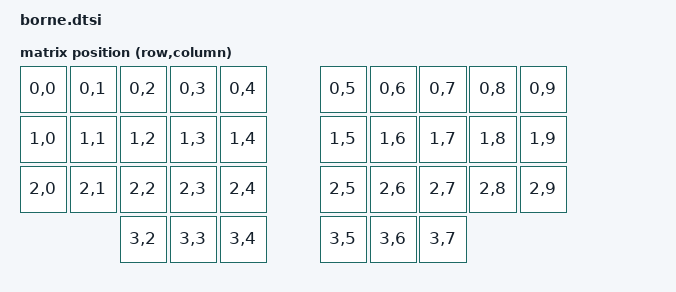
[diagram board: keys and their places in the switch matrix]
/*
 * Copyright (c) 2022 Gabriel Hansson
 *
 * SPDX-License-Identifier: MIT
 */

#include <dt-bindings/zmk/matrix_transform.h>

/ {
	chosen {
		zmk,kscan = &kscan0;
		zmk,matrix_transform = &default_transform;
	};

	default_transform: keymap_transform_0 {
		compatible = "zmk,matrix-transform";
		columns = <10>;
		rows = <4>;
		map = <
			RC(0,0) RC(0,1) RC(0,2) RC(0,3) RC(0,4)			RC(0,5) RC(0,6) RC(0,7) RC(0,8) RC(0,9)
			RC(1,0) RC(1,1) RC(1,2) RC(1,3) RC(1,4)			RC(1,5) RC(1,6) RC(1,7) RC(1,8) RC(1,9)
			RC(2,0) RC(2,1) RC(2,2) RC(2,3) RC(2,4)			RC(2,5) RC(2,6) RC(2,7) RC(2,8) RC(2,9)
							RC(3,2) RC(3,3) RC(3,4)			RC(3,5) RC(3,6) RC(3,7)
		>;
	};

	// https://zmk.dev/docs/development/new-shield
	kscan0: kscan {
		compatible = "zmk,kscan-composite";
		label = "KSCAN";
		rows = <4>;
		columns = <10>;

		kscan_left {
			kscan = <&kscan_left>;
		};

		kscan_right {
			kscan = <&kscan_right>;
			column-offset = <5>;
		};
	};

	// respecitive GPIO pin configurations found in borne_[left,right].overlay
	kscan_left: kscan_left {
		compatible = "zmk,kscan-gpio-direct";
		label = "KSCAN_LEFT";
	};

	kscan_right: kscan_right {
		compatible = "zmk,kscan-gpio-direct";
		label = "KSCAN_RIGHT";
	};
};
